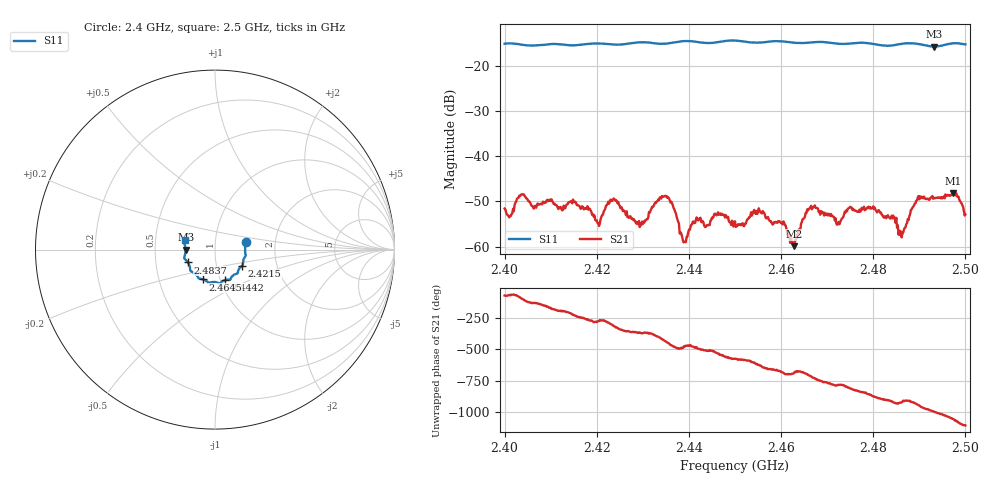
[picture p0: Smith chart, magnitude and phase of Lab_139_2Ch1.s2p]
# Hz S RI R 50
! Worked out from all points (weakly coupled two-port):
!   601 points, 2.4 GHz to 2.5 GHz, reference 50 ohm
!   highest |S21| = -48.15 dB at 2.4973 GHz (marker M1); lowest = -59.9 dB at 2.4628 GHz (marker M2)
!   lowest |S11| = -15.7 dB at 2.4932 GHz (marker M3), VSWR 1.39, Z = 35.9 - j0.0367 ohm
!   |S11| at or under -10 dB: start of sweep to end of sweep
!   S12 and S22 are empty: the file has one direction only
!   S11 on the Smith chart (normalised r, x): 2.4 GHz: 1.41, +0.12; 2.4215 GHz: 1.33, -0.25; 2.4442 GHz: 1.05, -0.37; 2.4645 GHz: 0.83, -0.29; 2.4837 GHz: 0.73, -0.11; 2.5 GHz: 0.71, +0.07
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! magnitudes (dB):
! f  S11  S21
! 2.4 GHz  -15.1  -51.6
! 2.4037 GHz  -15.3  -48.4
! 2.4167 GHz  -15.3  -51.5
! 2.4215 GHz  -15.1  -52.3
! 2.4238 GHz  -15.3  -49.4
! 2.4298 GHz  -14.8  -54.4
! 2.4333 GHz  -15.1  -49.6
! 2.436 GHz  -15.0  -50.2
! 2.439 GHz  -14.5  -59.0
! 2.4442 GHz  -15.0  -55.3
! 2.45 GHz  -14.4  -54.4
! 2.4557 GHz  -14.8  -52.5
! 2.4628 GHz  -14.9  -59.9
! 2.4645 GHz  -15.0  -54.6
! 2.4667 GHz  -14.8  -51.7
! 2.4833 GHz  -15.6  -53.4
! 2.4837 GHz  -15.5  -53.8
! 2.486 GHz  -15.1  -56.6
! 2.4897 GHz  -15.1  -49.1
! 2.4932 GHz  -15.7  -49.2
! 2.4973 GHz  -15.0  -48.2
! 2.5 GHz  -15.3  -52.9
